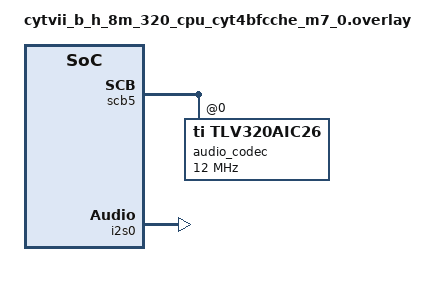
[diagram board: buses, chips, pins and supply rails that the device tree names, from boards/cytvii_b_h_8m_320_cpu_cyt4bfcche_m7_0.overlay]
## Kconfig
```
# Copyright (c) 2024 NXP
# SPDX-License-Identifier: Apache-2.0

source "Kconfig.zephyr"

config I2S_INIT_BUFFERS
	int "Initial count of audio data blocks"
	default 2
	help
	  Controls the initial count of audio data blocks, which are (optionally)
	  filled by data from the DMIC peripheral and played back by the I2S
	  output peripheral.

config SAMPLE_FREQ
	int "Sample rate"
	default 48000
	help
	  Sample frequency of the system.

config MIC_LOOPBACK
	bool "Enable mic-to-headphone loopback"
	help
	  When enabled, audio captured from mic is played
	  back to the headphone output in real time.

config USE_DMIC
	bool "Use DMIC as an audio input"

if USE_DMIC

config DMIC_CHANNELS
	int "Number of DMIC channels"
	default 1
	help
	  Count of DMIC channels to capture and process.

endif
```

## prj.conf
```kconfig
CONFIG_I2S=y
CONFIG_SPI=y
CONFIG_DMA=y
CONFIG_AUDIO=y
CONFIG_AUDIO_CODEC=y
CONFIG_LOG=y
CONFIG_I2S_INFINEON_TX_QUEUE_SIZE=32
CONFIG_I2S_INFINEON_RX_QUEUE_SIZE=32
```

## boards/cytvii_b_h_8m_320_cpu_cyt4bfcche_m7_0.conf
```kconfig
CONFIG_SAMPLE_FREQ=44100
```

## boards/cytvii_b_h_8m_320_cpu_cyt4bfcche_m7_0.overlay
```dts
/ {
        aliases {
                i2s-codec-tx = &i2s0;
        };
};

&scb5 {
    status = "okay";
    cs-gpios = <&gpio_prt4 4 GPIO_ACTIVE_LOW>;

    audio_codec: audio-codec@0 {
        compatible = "ti,tlv320aic26";
        reg = <0>;
        spi-max-frequency = <12000000>;
        mclk-frequency = <12000000>;
        status = "okay";
    };
};

&dma1 {
	status = "okay";
};

&i2s0 {
	status = "okay";
};
```

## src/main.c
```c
/*
 * Copyright (c) 2026 Linumiz
 */

#include <zephyr/kernel.h>
#include <zephyr/sys/printk.h>
#include <zephyr/drivers/i2c.h>
#include <zephyr/drivers/i2s.h>
#include <zephyr/audio/codec.h>
#include <zephyr/toolchain.h>

#include "sine.h"   /* provides __16kHz_16bit_stereo_sine_pcm + _len */

#define I2S_CODEC_TX       DT_ALIAS(i2s_codec_tx)
#define SAMPLE_FREQUENCY   CONFIG_SAMPLE_FREQ
#define SAMPLE_BIT_WIDTH   16U
#define NUMBER_OF_CHANNELS 2U

/* Keep this small (your i2s_infineon driver was failing with big blocks) */
#define BLOCK_SIZE         168U

#define TIMEOUT_MS         2000U

/* Provide enough slab blocks so the driver queue can stay fed */
#define BLOCK_COUNT        16

K_MEM_SLAB_DEFINE_IN_SECT_STATIC(mem_slab, __nocache, BLOCK_SIZE, BLOCK_COUNT, 4);

static int i2s_send_block_retry(const struct device *i2s_dev, void *mem_block, size_t block_size)
{
    int ret;

    do {
        ret = i2s_buf_write(i2s_dev, mem_block, block_size);
        if (ret == -EAGAIN) {
            /* TX queue full -> let ISR/DMA consume and retry */
            k_msleep(1);
        }
    } while (ret == -EAGAIN);

    return ret;
}

int main(void)
{
    const struct device *const i2s_dev  = DEVICE_DT_GET(I2S_CODEC_TX);

    struct i2s_config i2s_cfg = {0};
    int ret;
    const struct device *const codec_dev = DEVICE_DT_GET(DT_NODELABEL(audio_codec));
    struct audio_codec_cfg audio_cfg = {0};

    if (!device_is_ready(i2s_dev)) {
        printk("ERROR: %s not ready\n", i2s_dev->name);
        return -1;
    }
    if (!device_is_ready(codec_dev)) {
        printk("ERROR: codec not ready\n");
        return -1;
    }

    /* Codec setup (playback) */
    audio_cfg.dai_route = AUDIO_ROUTE_PLAYBACK;
    audio_cfg.dai_type  = AUDIO_DAI_TYPE_I2S;
    audio_cfg.dai_cfg.i2s.word_size      = SAMPLE_BIT_WIDTH;
    audio_cfg.dai_cfg.i2s.channels       = NUMBER_OF_CHANNELS;
    audio_cfg.dai_cfg.i2s.format         = I2S_FMT_DATA_FORMAT_I2S;

#ifdef CONFIG_USE_CODEC_CLOCK
    audio_cfg.dai_cfg.i2s.options        = I2S_OPT_FRAME_CLK_MASTER | I2S_OPT_BIT_CLK_MASTER;
#else
    audio_cfg.dai_cfg.i2s.options        = I2S_OPT_FRAME_CLK_SLAVE  | I2S_OPT_BIT_CLK_SLAVE;
#endif

    audio_cfg.dai_cfg.i2s.frame_clk_freq = SAMPLE_FREQUENCY;
    audio_cfg.dai_cfg.i2s.mem_slab       = &mem_slab;
    audio_cfg.dai_cfg.i2s.block_size     = BLOCK_SIZE;

   audio_codec_configure(codec_dev, &audio_cfg);
   audio_codec_start_output(codec_dev);
    /* I2S TX setup */
    i2s_cfg.word_size      = SAMPLE_BIT_WIDTH;
    i2s_cfg.channels       = NUMBER_OF_CHANNELS;
    i2s_cfg.format         = I2S_FMT_DATA_FORMAT_I2S;

#ifdef CONFIG_USE_CODEC_CLOCK
    /* Codec provides clocks, so MCU is slave */
    i2s_cfg.options        = I2S_OPT_BIT_CLK_SLAVE | I2S_OPT_FRAME_CLK_SLAVE;
#else
    /* MCU provides clocks */
    i2s_cfg.options        = I2S_OPT_BIT_CLK_MASTER | I2S_OPT_FRAME_CLK_MASTER;
#endif

    i2s_cfg.frame_clk_freq = SAMPLE_FREQUENCY;
    i2s_cfg.mem_slab       = &mem_slab;
    i2s_cfg.block_size     = BLOCK_SIZE;
    i2s_cfg.timeout        = TIMEOUT_MS;

    ret = i2s_configure(i2s_dev, I2S_DIR_TX, &i2s_cfg);
    if (ret < 0) {
        printk("ERROR: i2s_configure(TX) failed: %d\n", ret);
        return ret;
    }

    /* Prime the TX queue with a few blocks before START */
    size_t off = 0;
    const uint8_t *buf = __16kHz16bit_stereo_sine_pcm;
    const size_t len   = __16kHz16bit_stereo_sine_pcm_len;
    printf("length = %d \n", len);

    BUILD_ASSERT(BLOCK_SIZE <= __16kHz16bit_stereo_sine_pcm_len,
                 "BLOCK_SIZE bigger than sine buffer."); /* [file:16] pattern */

    for (int i = 0; i < 4; i++) {
        if (off + BLOCK_SIZE > len) {
            off = 0;
        }

        ret = i2s_send_block_retry(i2s_dev, (void *)&buf[off], BLOCK_SIZE);
        if (ret < 0) {
            printf("ERROR: prime i2s_buf_write failed: %d\n", ret);
            return ret;
        }
        off += BLOCK_SIZE;
    }

    ret = i2s_trigger(i2s_dev, I2S_DIR_TX, I2S_TRIGGER_START);
    if (ret < 0) {
        printf("ERROR: I2S_TRIGGER_START failed: %d\n", ret);
        return ret;
    }

    printf("Sine playback started (%u Hz, %u-bit, %u ch)\n",
           SAMPLE_FREQUENCY, SAMPLE_BIT_WIDTH, NUMBER_OF_CHANNELS);
    /* Continuous streaming loop */
    while (1) {
        if (off + BLOCK_SIZE > len) {
            off = 0;
        }
        ret = i2s_send_block_retry(i2s_dev, (void *)&buf[off], BLOCK_SIZE);
        if (ret < 0) {
            printf("ERROR: i2s_buf_write failed: %d\n", ret);
            break;
        }
        off += BLOCK_SIZE;
    }
    /* If you ever exit, stop TX cleanly */
    (void)i2s_trigger(i2s_dev, I2S_DIR_TX, I2S_TRIGGER_STOP);
    (void)i2s_trigger(i2s_dev, I2S_DIR_TX, I2S_TRIGGER_DROP);
    return 0;
}
```
